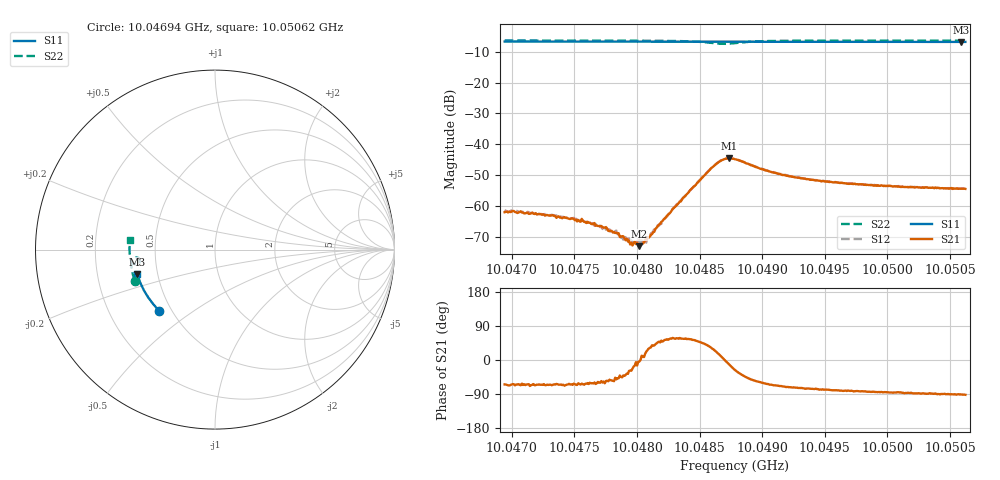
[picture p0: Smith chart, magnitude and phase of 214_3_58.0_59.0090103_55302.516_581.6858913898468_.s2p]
#  HZ  S  RI  R  50.00
! Rohde & Schwarz Vector Network Analyzer
! Rohde-Schwarz,ZNB20-2Port,1311601062101988,3.16
! Created: UTC 3/21/2024, 12:59:53 AM
! freq[Hz]  re:S11  im:S11  re:S21  im:S21  re:S12  im:S12  re:S22  im:S22
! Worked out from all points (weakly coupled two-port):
!   401 points, 10.04694 GHz to 10.05062 GHz, reference 50 ohm
!   highest |S21| = -44.52 dB at 10.04874 GHz (marker M1); lowest = -73.0 dB at 10.04802 GHz (marker M2)
!   lowest |S11| = -6.9 dB at 10.05059 GHz (marker M3), VSWR 2.66, Z = 19.2 - j6.66 ohm
!   |S11| at or under -10 dB: nowhere
!   |S22| runs from -7.5 to -6.4 dB; largest |S21 - S12| = 0.0004
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1.0046943e10  -0.3097 -0.3411  0.000344 -0.000719  0.000426 -0.000756  -0.4473 -0.1729
1.0047173e10  -0.3203 -0.3302  0.000337 -0.000677  0.000354 -0.000671  -0.4522 -0.1579
1.0047559e10  -0.3377 -0.3113  0.000289 -0.000551  0.000303 -0.000499  -0.4595 -0.1316
1.0047734e10  -0.3452 -0.3024  0.000248 -0.000378  0.000283 -0.000383  -0.4622 -0.1192
1.0047835e10  -0.3494 -0.2973  0.000232 -0.000288  0.000273 -0.000296  -0.4635 -0.1115
1.0047881e10  -0.3513 -0.2948  0.000227 -0.000234  0.000241 -0.0002  -0.464 -0.1082
1.0047946e10  -0.354 -0.2914  0.000212 -0.000112  0.000267 -0.000113  -0.4647 -0.1031
1.0048019e10  -0.3568 -0.2876  0.000224 -1.49e-05  0.000287 9.83e-06  -0.4656 -0.0973
1.0048038e10  -0.3577 -0.2867  0.000234 4.71e-05  0.000274 6.17e-05  -0.4655 -0.0958
1.0048065e10  -0.3587 -0.2852  0.000275 8.17e-05  0.000251 9.34e-05  -0.4657 -0.0935
1.004812e10  -0.3609 -0.2824  0.000274 0.000222  0.000287 0.000225  -0.4661 -0.0889
1.0048176e10  -0.363 -0.2793  0.000334 0.000376  0.000307 0.00037  -0.4659 -0.0838
1.0048323e10  -0.3687 -0.2714  0.000571 0.000893  0.000551 0.000944  -0.4641 -0.0695
1.004859e10  -0.3781 -0.2566  0.00339 0.00221  0.00326 0.00243  -0.4373 -0.0438
1.0048672e10  -0.3809 -0.252  0.00539 0.000897  0.00537 0.00121  -0.4203 -0.054
1.0048737e10  -0.3829 -0.2487  0.0058 -0.00127  0.00591 -0.000915  -0.4199 -0.0714
1.0048783e10  -0.3846 -0.2462  0.00513 -0.00255  0.00538 -0.00224  -0.4282 -0.0799
1.0049068e10  -0.3944 -0.23  0.00151 -0.00327  0.00175 -0.00317  -0.4658 -0.063
1.0049399e10  -0.4044 -0.2106  0.000644 -0.00259  0.000767 -0.00255  -0.4742 -0.0333
1.0050016e10  -0.4206 -0.1734  0.000153 -0.00212  0.000264 -0.00212  -0.4763 0.0123
1.0050586e10  -0.4326 -0.1379  -2.56e-05 -0.00191  7.15e-05 -0.00192  -0.4736 0.0514
1.0050623e10  -0.4334 -0.1356  -6.14e-05 -0.0019  6.58e-05 -0.00192  -0.4734 0.0539
